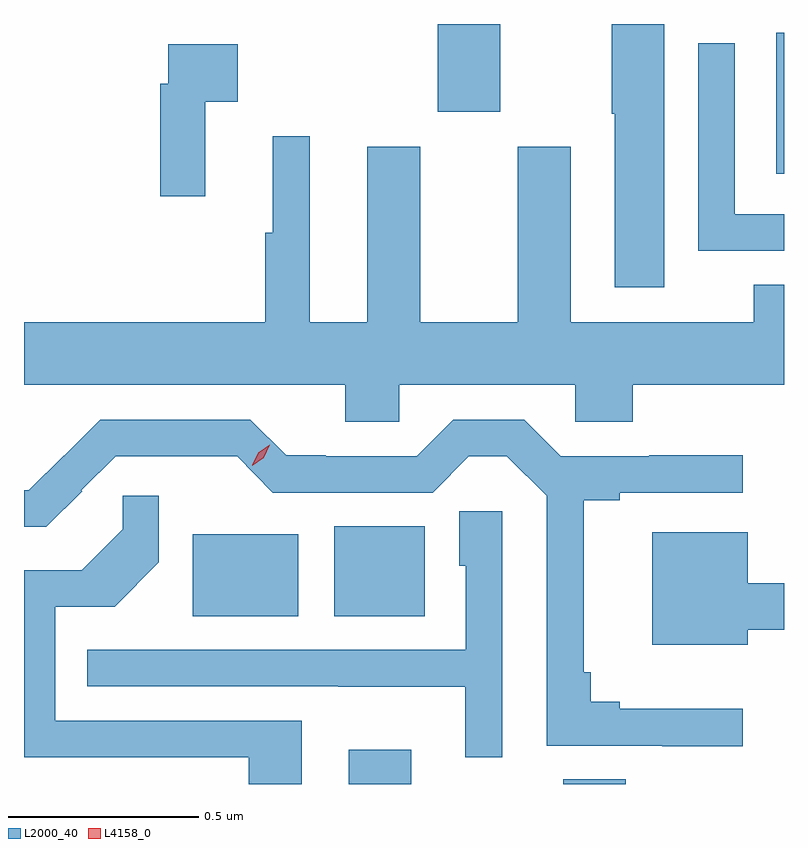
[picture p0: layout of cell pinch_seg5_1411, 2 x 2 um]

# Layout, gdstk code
import gdstk
lib = gdstk.Library(unit=1e-6, precision=1e-09)
def R(c, l, rs):  # rectangles x0, y0, x1, y1
    for r in rs: c.add(gdstk.rectangle(r[:2], r[2:], *l))
def P(c, l, *ps):  # polygons
    for p in ps: c.add(gdstk.Polygon(p, *l))
L2000_40 = (2000, 40)
L4158_0 = (4158, 0)

pinch_seg5_1411 = lib.new_cell('pinch_seg5_1411')
R(pinch_seg5_1411, L2000_40, [(184.643,897.001,184.807,897.091), (185.207,897.001,185.371,897.013), (184.232,897.443,184.51,897.658), (184.604,897.443,184.843,897.679), (185.768,898.607,185.788,898.978), (184.877,898.77,185.041,899.001)])
P(pinch_seg5_1411, L2000_40, [(185.473,899.001),(185.335,899.001),(185.335,898.765),(185.342,898.765),(185.342,898.308),(185.473,898.308)],
  [(185.788,898.5),(185.658,898.5),(185.658,898.951),(185.562,898.951),(185.562,898.404),(185.788,898.404)],
  [(184.265,898.796),(184.351,898.796),(184.351,898.948),(184.167,898.948),(184.167,898.844),(184.147,898.844),(184.147,898.548),(184.265,898.548)],
  [(185.227,898.678),(185.087,898.678),(185.087,898.216),(184.831,898.216),(184.831,898.678),(184.691,898.678),(184.691,898.216),(184.54,898.216),(184.54,898.705),(184.442,898.705),(184.442,898.452),(184.423,898.452),(184.423,898.216),(183.788,898.216),(183.788,898.052),(184.634,898.052),(184.634,897.954),(184.776,897.954),(184.776,898.052),(185.238,898.052),(185.238,897.954),(185.39,897.954),(185.39,898.052),(185.788,898.052),(185.788,898.315),(185.708,898.315),(185.708,898.216),(185.227,898.216)],
  [(185.68,897.199),(185.356,897.199),(185.356,897.218),(185.279,897.218),(185.279,897.295),(185.261,897.295),(185.261,897.748),(185.356,897.748),(185.356,897.768),(185.68,897.768),(185.68,897.866),(185.433,897.866),(185.433,897.864),(185.2,897.864),(185.104,897.96),(184.917,897.96),(184.821,897.864),(184.582,897.864),(184.582,897.866),(184.478,897.866),(184.383,897.96),(183.989,897.96),(183.893,897.864),(183.892,897.865),(183.801,897.774),(183.788,897.774),(183.788,897.678),(183.847,897.678),(183.941,897.772),(183.939,897.774),(184.029,897.864),(184.244,897.864),(184.244,897.863),(184.349,897.863),(184.443,897.768),(184.863,897.768),(184.958,897.863),(185.059,897.863),(185.163,897.759),(185.163,897.102),(185.467,897.102),(185.467,897.101),(185.68,897.101)],
  [(184.519,897.168),(183.87,897.168),(183.87,897.468),(184.027,897.468),(184.143,897.584),(184.143,897.76),(184.048,897.76),(184.048,897.672),(183.94,897.564),(183.788,897.564),(183.788,897.071),(183.967,897.071),(183.967,897.072),(184.379,897.072),(184.379,897.001),(184.519,897.001)],
  [(185.046,897.719),(184.934,897.719),(184.934,897.576),(184.95,897.576),(184.95,897.354),(183.955,897.354),(183.955,897.258),(184.615,897.258),(184.615,897.257),(184.949,897.257),(184.949,897.072),(185.046,897.072)],
  [(185.692,897.407),(185.788,897.407),(185.788,897.529),(185.692,897.529),(185.692,897.664),(185.441,897.664),(185.441,897.368),(185.692,897.368)])
P(pinch_seg5_1411, L4158_0, [(184.388,897.839),(184.388,897.84),(184.404,897.873),(184.435,897.894),(184.435,897.894),(184.435,897.894),(184.419,897.86),(184.388,897.839)])

lib.write_gds('pinch_seg5_1411.gds')
